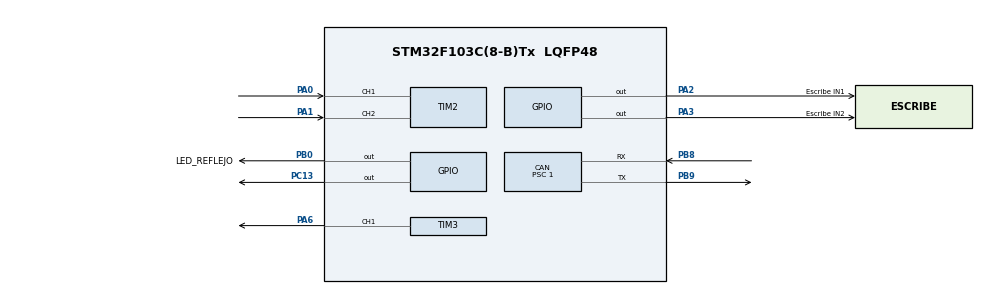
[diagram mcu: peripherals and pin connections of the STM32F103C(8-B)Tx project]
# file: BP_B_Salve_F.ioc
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CAN.BS1=CAN_BS1_13TQ
CAN.BS2=CAN_BS2_2TQ
CAN.CalculateBaudRate=500000
CAN.CalculateTimeBit=2000
CAN.CalculateTimeQuantum=125.0
CAN.Prescaler=1
Mcu.Family=STM32F1
Mcu.Name=STM32F103C(8-B)Tx
Mcu.Package=LQFP48
NVIC.PriorityGroup=NVIC_PRIORITYGROUP_4
PA0-WKUP.Signal=S_TIM2_CH1_ETR
PA1.Signal=S_TIM2_CH2
PA13.Mode=Serial_Wire
PA13.Signal=SYS_JTMS-SWDIO
PA14.Mode=Serial_Wire
PA14.Signal=SYS_JTCK-SWCLK
PA2.GPIO_Label=Escribe IN1
PA2.Signal=GPIO_Output
PA3.GPIO_Label=Escribe IN2
PA3.Signal=GPIO_Output
PA6.Signal=S_TIM3_CH1
PB0.GPIO_Label=LED_REFLEJO
PB0.Signal=GPIO_Output
PB8.Mode=CAN_Activate
PB8.Signal=CAN_RX
PB9.Mode=CAN_Activate
PB9.Signal=CAN_TX
PC13-TAMPER-RTC.PinState=GPIO_PIN_SET
PC13-TAMPER-RTC.Signal=GPIO_Output
PD0-OSC_IN.Mode=HSE-External-Oscillator
PD0-OSC_IN.Signal=RCC_OSC_IN
PD1-OSC_OUT.Mode=HSE-External-Oscillator
PD1-OSC_OUT.Signal=RCC_OSC_OUT
ProjectManager.HeapSize=0x200
ProjectManager.StackSize=0x400
ProjectManager.TargetToolchain=STM32CubeIDE
RCC.APB1Freq_Value=8000000
RCC.APB2Freq_Value=8000000
SH.S_TIM2_CH1_ETR.0=TIM2_CH1,Encoder_Interface
SH.S_TIM2_CH2.0=TIM2_CH2,Encoder_Interface
SH.S_TIM3_CH1.0=TIM3_CH1,PWM Generation1 CH1
TIM2.IC1Filter=6
TIM3.AutoReloadPreload=TIM_AUTORELOAD_PRELOAD_ENABLE
TIM3.Channel-PWM\ Generation1\ CH1=TIM_CHANNEL_1
TIM3.Period=999
TIM3.Prescaler=71
board=custom

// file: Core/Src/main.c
/* USER CODE BEGIN Header */
/**
  ******************************************************************************
  * @file           : main.c
  * @brief          : Main program body
  ******************************************************************************
  * @attention
  *
  * Copyright (c) 2026 STMicroelectronics.
  * All rights reserved.
  *
  * This software is licensed under terms that can be found in the LICENSE file
  * in the root directory of this software component.
  * If no LICENSE file comes with this software, it is provided AS-IS.
  *
  ******************************************************************************
  */
/* USER CODE END Header */
#include "main.h"
#include "can.h"
#include "tim.h"
#include "gpio.h"

/* USER CODE BEGIN Includes */
#include <stdlib.h>
/* USER CODE END Includes */

/* USER CODE BEGIN PTD */
typedef enum {
  STATE_IDLE = 0,
  STATE_SCANNING,
  STATE_HOMING_LOCKED,
  STATE_GO_TO_HOME,
  STATE_ERROR_LIMIT
} SystemState_t;

typedef enum {
  SCAN_PHASE_FORWARD = 0,   /* Girando hacia adelante (+2 vueltas) */
  SCAN_PHASE_PAUSE_FWD,     /* Pausa de 1s con motor frenado */
  SCAN_PHASE_REVERSE,       /* Girando hacia atrás (-2 vueltas) */
  SCAN_PHASE_PAUSE_REV      /* Pausa de 1s con motor frenado */
} ScanPhase_t;
/* USER CODE END PTD */

/* USER CODE BEGIN PD */
/* --- PARÁMETROS DEL ENCODER, TORNILLO SIN FIN Y ENGRANAJE --- */
#define ENCODER_PPR            30     /* Pulsos por revolución del eje del motor */
/* En modo TI1 (x2) se generan 2 cuentas en el timer por cada pulso */
#define TICKS_PER_MOTOR_REV    (ENCODER_PPR * 2) /* 60 cuentas por 1 vuelta del motor */

/* Transmisión: Tornillo sin fin (1 entrada) -> Engranaje de 40 dientes (Radio = 15 mm)
 * 1 vuelta del tornillo sin fin avanza 1 diente del engranaje (relación 40:1).
 * Por lo tanto, 1 vuelta del engranaje = 40 vueltas del motor = 2400 ticks. */
#define WORM_STARTS            1      /* Entradas del tornillo sin fin */
#define GEAR_TEETH             40     /* Dientes del engranaje conducido */
#define GEAR_RADIUS_MM         15     /* Radio del engranaje (centro a cabeza de diente): 15 mm */
#define TICKS_PER_GEAR_REV     ((TICKS_PER_MOTOR_REV * GEAR_TEETH) / WORM_STARTS) /* 2400 cuentas por vuelta de engranaje */

#define SWEEP_GEAR_REVS        2      /* 2 vueltas completas del ENGRANAJE hacia cada sentido */
#define SWEEP_TARGET_TICKS     (TICKS_PER_GEAR_REV * SWEEP_GEAR_REVS) /* 4800 ticks (80 vueltas de motor) */
#define SWEEP_PAUSE_MS         1000   /* 1 segundo de retardo antes de cambiar de sentido */
#define SWEEP_DUTY             700    /* Fuerza de barrido en 700 (70% sobre 999) */

/* --- IMPULSO DE ARRANQUE (KICK-START PARA VENCER FRICCIÓN ESTÁTICA) --- */
#define KICK_DUTY              950    /* Golpe inicial de fuerza (95% sobre 999) al salir del reposo */
#define KICK_TIME_MS           35     /* Duración del empujón inicial en milisegundos */

/* Límite de seguridad amplio para permitir las 80 vueltas de motor (4800 ticks) con holgura */
#define MAX_ENCODER_LIMIT      25000

/* --- PARÁMETROS DEL CONTROLADOR DE POSICIÓN (IR A HOME) --- */
#define POS_DEADBAND_TICKS     5      /* Tolerancia de llegada en pulsos */
#define POS_MIN_DUTY           550    /* Fuerza mínima para vencer fricción en retorno */
#define POS_MAX_DUTY           700    /* Velocidad máxima de retorno */
#define GO_HOME_TIMEOUT_MS     30000  /* 30 s de tiempo máximo para desandar hasta 2 vueltas de engranaje */

#define ENCODER_POLARITY       1      /* Polaridad de encoder */
/* USER CODE END PD */

/* USER CODE BEGIN PV */
/* Estado del sistema y variables de posición */
volatile SystemState_t current_state = STATE_IDLE;
volatile int32_t total_encoder_ticks = 0;   /* Posición acumulada en 32 bits (anti-desbordamiento) */
volatile int16_t last_timer_cnt = 0;        /* Última lectura directa de CNT (16 bits) */
volatile int32_t home_position = 0;         /* Posición de referencia fijada */
volatile int32_t target_position = 0;       /* Posición objetivo para Ir a Home o giros por ángulo */

/* Variables para el barrido oscilante por PPR */
volatile ScanPhase_t scan_phase = SCAN_PHASE_FORWARD;
int32_t leg_start_ticks = 0;                /* Posición de inicio de cada tramo de giro */
uint32_t scan_pause_timer = 0;              /* Temporizador no bloqueante para el delay de 1s */

/* Variables para control inteligente y anti-embalamiento de Go to Home */
volatile int8_t motor_dir_sign = 1;         /* Signo de dirección de motor (+1 o -1 auto-calibrado) */
int32_t go_home_initial_error = 0;
uint32_t go_home_start_time = 0;

/* Seguimiento del sentido actual del motor para el impulso de arranque (kick-start) */
int8_t current_motor_dir = 0;               /* 0: frenado, 1: adelante, -1: atrás */

/* Banderas de eventos de botones recibidos por bus CAN desde BP_A_Master_F */
volatile uint8_t can_btn1_flag = 0;
volatile uint8_t can_btn2_flag = 0;
volatile uint8_t can_btn3_flag = 0;
volatile uint8_t can_btn4_flag = 0;
volatile int32_t can_step_ticks = 0;        /* Pasos relativos solicitados por CAN (+ o - ticks) */

/* Temporizador no bloqueante para envio de telemetria CAN (Fase B) */
uint32_t last_telemetry_tick = 0;
/* USER CODE END PV */

void SystemClock_Config(void);
/* USER CODE BEGIN PFP */
void Motor_SetSpeed(int16_t speed);
void Encoder_Update(void);
void CAN_Filter_Config(void);
void CAN_ProcessRxMessages(void);
void CAN_SendTelemetry(void);
/* USER CODE END PFP */

/* USER CODE BEGIN 0 */
/**
  * @brief  Ajusta el sentido de giro y la velocidad del motor DC con el puente H L298N.
  *         Incluye un "empujón" (kick-start) automático al arrancar desde reposo o cambiar
  *         de sentido para vencer la fricción estática del motor.
  * @param  speed: Valor entre -999 y +999
  */
void Motor_SetSpeed(int16_t speed)
{
  if (speed > 999) speed = 999;
  if (speed < -999) speed = -999;

  if (speed > 0)
  {
    HAL_GPIO_WritePin(GPIOA, Escribe_IN1_Pin, GPIO_PIN_SET);
    HAL_GPIO_WritePin(GPIOA, Escribe_IN2_Pin, GPIO_PIN_RESET);

    /* Si estaba detenido o girando al revés, dar golpe de arranque para vencer inercia */
    if (current_motor_dir != 1)
    {
      current_motor_dir = 1;
      if (speed < KICK_DUTY && KICK_TIME_MS > 0)
      {
        __HAL_TIM_SET_COMPARE(&htim3, TIM_CHANNEL_1, KICK_DUTY);
        HAL_Delay(KICK_TIME_MS);
      }
    }
    __HAL_TIM_SET_COMPARE(&htim3, TIM_CHANNEL_1, (uint32_t)speed);
  }
  else if (speed < 0)
  {
    HAL_GPIO_WritePin(GPIOA, Escribe_IN1_Pin, GPIO_PIN_RESET);
    HAL_GPIO_WritePin(GPIOA, Escribe_IN2_Pin, GPIO_PIN_SET);

    /* Si estaba detenido o girando al revés, dar golpe de arranque para vencer inercia */
    if (current_motor_dir != -1)
    {
      current_motor_dir = -1;
      if ((-speed) < KICK_DUTY && KICK_TIME_MS > 0)
      {
        __HAL_TIM_SET_COMPARE(&htim3, TIM_CHANNEL_1, KICK_DUTY);
        HAL_Delay(KICK_TIME_MS);
      }
    }
    __HAL_TIM_SET_COMPARE(&htim3, TIM_CHANNEL_1, (uint32_t)(-speed));
  }
  else
  {
    /* Freno activo */
    current_motor_dir = 0;
    HAL_GPIO_WritePin(GPIOA, Escribe_IN1_Pin, GPIO_PIN_RESET);
    HAL_GPIO_WritePin(GPIOA, Escribe_IN2_Pin, GPIO_PIN_RESET);
    __HAL_TIM_SET_COMPARE(&htim3, TIM_CHANNEL_1, 0);
  }
}

/**
  * @brief  Calcula los pulsos acumulados en 32 bits a partir de los 16 bits de TIM2
  */
void Encoder_Update(void)
{
  int16_t current_cnt = (int16_t)__HAL_TIM_GET_COUNTER(&htim2);
  int16_t delta = current_cnt - last_timer_cnt;
  last_timer_cnt = current_cnt;
  total_encoder_ticks += (ENCODER_POLARITY * delta);
}

/**
  * @brief  Configuración del filtro CAN para recibir todos los mensajes en FIFO0
  */
void CAN_Filter_Config(void)
{
  CAN_FilterTypeDef sFilterConfig;

  sFilterConfig.FilterBank = 0;
  sFilterConfig.FilterMode = CAN_FILTERMODE_IDMASK;
  sFilterConfig.FilterScale = CAN_FILTERSCALE_32BIT;
  sFilterConfig.FilterIdHigh = 0x0000;
  sFilterConfig.FilterIdLow = 0x0000;
  sFilterConfig.FilterMaskIdHigh = 0x0000;
  sFilterConfig.FilterMaskIdLow = 0x0000;
  sFilterConfig.FilterFIFOAssignment = CAN_RX_FIFO0;
  sFilterConfig.FilterActivation = ENABLE;
  sFilterConfig.SlaveStartFilterBank = 14;

  if (HAL_CAN_ConfigFilter(&hcan, &sFilterConfig) != HAL_OK)
  {
    Error_Handler();
  }
}

/**
  * @brief  Procesa todos los mensajes pendientes en el FIFO0 de recepción CAN
  *         - StdId 0x010: Comandos de botones BTN1..BTN4 (0x01..0x04)
  *         - StdId 0x020: Comando de encendido/apagado de LED_REFLEJO en PB0 (0x01 / 0x00)
  */
void CAN_ProcessRxMessages(void)
{
  CAN_RxHeaderTypeDef rxHeader;
  uint8_t rxData[8];

  while (HAL_CAN_GetRxFifoFillLevel(&hcan, CAN_RX_FIFO0) > 0)
  {
    if (HAL_CAN_GetRxMessage(&hcan, CAN_RX_FIFO0, &rxHeader, rxData) == HAL_OK)
    {
      if (rxHeader.DLC >= 1)
      {
        /* 1. Comandos de los botones de motor/homing y giros por ángulo (ID = 0x010) */
        if (rxHeader.StdId == 0x010)
        {
          switch (rxData[0])
          {
            case 0x01: can_btn1_flag = 1; break;
            case 0x02: can_btn2_flag = 1; break;
            case 0x03: can_btn3_flag = 1; break;
            case 0x04: can_btn4_flag = 1; break;
            /* Giros relativos en sentido positivo (+30°, +90°, +180°, +360°) */
            case 0x05: can_step_ticks =  (30  * TICKS_PER_GEAR_REV) / 360; break; /* +200 ticks */
            case 0x06: can_step_ticks =  (90  * TICKS_PER_GEAR_REV) / 360; break; /* +600 ticks */
            case 0x07: can_step_ticks =  (180 * TICKS_PER_GEAR_REV) / 360; break; /* +1200 ticks */
            case 0x08: can_step_ticks =  (360 * TICKS_PER_GEAR_REV) / 360; break; /* +2400 ticks */
            /* Giros relativos en sentido negativo (-30°, -90°, -180°, -360°) */
            case 0x09: can_step_ticks = -(30  * TICKS_PER_GEAR_REV) / 360; break; /* -200 ticks */
            case 0x0A: can_step_ticks = -(90  * TICKS_PER_GEAR_REV) / 360; break; /* -600 ticks */
            case 0x0B: can_step_ticks = -(180 * TICKS_PER_GEAR_REV) / 360; break; /* -1200 ticks */
            case 0x0C: can_step_ticks = -(360 * TICKS_PER_GEAR_REV) / 360; break; /* -2400 ticks */
            default: break;
          }
        }
        /* 2. Comandos del LED en PB0 (ID = 0x020) */
        else if (rxHeader.StdId == 0x020)
        {
          if (rxData[0] == 0x01)
          {
            HAL_GPIO_WritePin(LED_REFLEJO_GPIO_Port, LED_REFLEJO_Pin, GPIO_PIN_SET);   /* Encender LED PB0 */
          }
          else if (rxData[0] == 0x00)
          {
            HAL_GPIO_WritePin(LED_REFLEJO_GPIO_Port, LED_REFLEJO_Pin, GPIO_PIN_RESET); /* Apagar LED PB0 */
          }
        }
      }
    }
    else
    {
      break;
    }
  }
}

/**
  * @brief  Callback de interrupción al recibir un frame CAN en el FIFO0
  */
void HAL_CAN_RxFifo0MsgPendingCallback(CAN_HandleTypeDef *hcanInstance)
{
  UNUSED(hcanInstance);
  CAN_ProcessRxMessages();
}

/**
  * @brief  Transmite periodicamente la telemetria (posicion y estado) por CAN a BP_A (StdId = 0x030)
  */
void CAN_SendTelemetry(void)
{
  CAN_TxHeaderTypeDef txHeader;
  uint8_t txData[5];
  uint32_t txMailbox;

  if (HAL_CAN_GetTxMailboxesFreeLevel(&hcan) == 0)
  {
    HAL_CAN_AbortTxRequest(&hcan, CAN_TX_MAILBOX0 | CAN_TX_MAILBOX1 | CAN_TX_MAILBOX2);
  }

  txHeader.StdId = 0x030;
  txHeader.ExtId = 0x01;
  txHeader.RTR = CAN_RTR_DATA;
  txHeader.IDE = CAN_ID_STD;
  txHeader.DLC = 5;
  txHeader.TransmitGlobalTime = DISABLE;

  int32_t pos = total_encoder_ticks;
  txData[0] = (uint8_t)(pos & 0xFF);
  txData[1] = (uint8_t)((pos >> 8) & 0xFF);
  txData[2] = (uint8_t)((pos >> 16) & 0xFF);
  txData[3] = (uint8_t)((pos >> 24) & 0xFF);
  txData[4] = (uint8_t)current_state;

  HAL_CAN_AddTxMessage(&hcan, &txHeader, txData, &txMailbox);
}
/* USER CODE END 0 */

int main(void)
{

  /* MCU Configuration--------------------------------------------------------*/

  /* Reset of all peripherals, Initializes the Flash interface and the Systick. */
  HAL_Init();

  /* Configure the system clock */
  SystemClock_Config();

  /* Initialize all configured peripherals */
  MX_GPIO_Init();
  MX_TIM2_Init();
  MX_TIM3_Init();
  MX_CAN_Init();
  /* USER CODE BEGIN 2 */
  /* Iniciar PWM de velocidad de motor (TIM3 Canal 1 en PA6 -> ENA del L298N) */
  HAL_TIM_PWM_Start(&htim3, TIM_CHANNEL_1);

  /* Iniciar lectura de Encoder en TIM2 (PA0 y PA1) */
  HAL_TIM_Encoder_Start(&htim2, TIM_CHANNEL_ALL);

  /* Iniciar periférico CAN y activar interrupciones de recepción */
  CAN_Filter_Config();
  if (HAL_CAN_Start(&hcan) != HAL_OK)
  {
    Error_Handler();
  }
  if (HAL_CAN_ActivateNotification(&hcan, CAN_IT_RX_FIFO0_MSG_PENDING) != HAL_OK)
  {
    Error_Handler();
  }

  /* Asegurar actuadores apagados al arrancar */
  Motor_SetSpeed(0);
  HAL_GPIO_WritePin(LED_REFLEJO_GPIO_Port, LED_REFLEJO_Pin, GPIO_PIN_RESET);

  /* Resetear contadores de posición y variables de referencia */
  __HAL_TIM_SET_COUNTER(&htim2, 0);
  last_timer_cnt = 0;
  total_encoder_ticks = 0;
  home_position = 0;
  target_position = 0;
  current_state = STATE_IDLE;
  /* USER CODE END 2 */

  /* Infinite loop */
  /* USER CODE BEGIN WHILE */
  while (1)
  {
    /* 0. Procesar mensajes CAN pendientes en FIFO0 (respaldo por polling + interrupción) */
    CAN_ProcessRxMessages();

    /* 1. Actualizar el conteo continuo del encoder (32 bits anti-desbordamiento) */
    Encoder_Update();

    /* 2. Capturar los eventos de BTN1..BTN4 recibidos por CAN desde BP_A_Master_F */
    uint8_t btn1 = can_btn1_flag; can_btn1_flag = 0;
    uint8_t btn2 = can_btn2_flag; can_btn2_flag = 0;
    uint8_t btn3 = can_btn3_flag; can_btn3_flag = 0;
    uint8_t btn4 = can_btn4_flag; can_btn4_flag = 0;
    int32_t step_req = can_step_ticks; can_step_ticks = 0;

    /* 3. PARADA DE EMERGENCIA / STOP (BTN4 tiene prioridad sobre cualquier estado) */
    if (btn4)
    {
      Motor_SetSpeed(0);
      current_state = STATE_IDLE;
    }

    /* 4. VERIFICACIÓN DE LÍMITE DE SEGURIDAD */
    if (current_state == STATE_SCANNING || current_state == STATE_GO_TO_HOME)
    {
      if (abs(total_encoder_ticks - home_position) >= MAX_ENCODER_LIMIT)
      {
        Motor_SetSpeed(0);
        current_state = STATE_ERROR_LIMIT;
      }
    }

    /* 5. MÁQUINA DE ESTADOS */
    switch (current_state)
    {
      case STATE_IDLE:
        Motor_SetSpeed(0);
        HAL_GPIO_WritePin(GPIOC, GPIO_PIN_13, GPIO_PIN_SET); /* LED PC13 apagado en reposo */

        /* BTN1: Iniciar barrido oscilante basado en vueltas (PPR) */
        if (btn1)
        {
          leg_start_ticks = total_encoder_ticks; /* Origen de este tramo */
          scan_phase = SCAN_PHASE_FORWARD;
          Motor_SetSpeed(SWEEP_DUTY);
          current_state = STATE_SCANNING;
        }
        /* BTN2: Fijar Home en reposo si se desea calibrar aquí */
        else if (btn2)
        {
          total_encoder_ticks = 0;
          home_position = 0;
          target_position = 0;
          __HAL_TIM_SET_COUNTER(&htim2, 0);
          last_timer_cnt = 0;
          current_state = STATE_HOMING_LOCKED;
        }
        /* BTN3: Regresar a la posición de Home memorizada */
        else if (btn3)
        {
          target_position = home_position;
          go_home_initial_error = abs(target_position - total_encoder_ticks);
          go_home_start_time = HAL_GetTick();
          current_state = STATE_GO_TO_HOME;
        }
        /* Giro angular relativo por comando remoto (±30°, ±90°, ±180°, ±360°) */
        else if (step_req != 0)
        {
          target_position = total_encoder_ticks + step_req;
          go_home_initial_error = abs(target_position - total_encoder_ticks);
          go_home_start_time = HAL_GetTick();
          current_state = STATE_GO_TO_HOME;
        }
        break;

      case STATE_SCANNING:
        HAL_GPIO_WritePin(GPIOC, GPIO_PIN_13, GPIO_PIN_RESET); /* LED PC13 encendido mientras escanea */

        /* Sub-máquina de estados de barrido por vueltas (PPR) */
        switch (scan_phase)
        {
          case SCAN_PHASE_FORWARD:
            Motor_SetSpeed(SWEEP_DUTY);
            /* Verificar si completó 2 vueltas relativas hacia adelante */
            if (abs(total_encoder_ticks - leg_start_ticks) >= SWEEP_TARGET_TICKS)
            {
              Motor_SetSpeed(0); /* Freno activo */
              scan_pause_timer = HAL_GetTick();
              scan_phase = SCAN_PHASE_PAUSE_FWD;
            }
            break;

          case SCAN_PHASE_PAUSE_FWD:
            Motor_SetSpeed(0); /* Freno durante el delay de 1 segundo */
            if (HAL_GetTick() - scan_pause_timer >= SWEEP_PAUSE_MS)
            {
              leg_start_ticks = total_encoder_ticks; /* Origen para el tramo en reversa */
              Motor_SetSpeed(-SWEEP_DUTY); /* Iniciar giro en reversa con fuerza */
              scan_phase = SCAN_PHASE_REVERSE;
            }
            break;

          case SCAN_PHASE_REVERSE:
            Motor_SetSpeed(-SWEEP_DUTY);
            /* Verificar si completó 2 vueltas relativas hacia atrás */
            if (abs(total_encoder_ticks - leg_start_ticks) >= SWEEP_TARGET_TICKS)
            {
              Motor_SetSpeed(0); /* Freno activo */
              scan_pause_timer = HAL_GetTick();
              scan_phase = SCAN_PHASE_PAUSE_REV;
            }
            break;

          case SCAN_PHASE_PAUSE_REV:
            Motor_SetSpeed(0); /* Freno durante el delay de 1 segundo */
            if (HAL_GetTick() - scan_pause_timer >= SWEEP_PAUSE_MS)
            {
              leg_start_ticks = total_encoder_ticks; /* Origen para el siguiente tramo adelante */
              Motor_SetSpeed(SWEEP_DUTY); /* Reiniciar giro hacia adelante */
              scan_phase = SCAN_PHASE_FORWARD;
            }
            break;
        }

        /* BTN2: Fijar Home */
        if (btn2)
        {
          Motor_SetSpeed(0);

          /* Fijar el origen de coordenadas exactamente en este punto */
          total_encoder_ticks = 0;
          home_position = 0;
          target_position = 0;
          __HAL_TIM_SET_COUNTER(&htim2, 0);
          last_timer_cnt = 0;

          current_state = STATE_HOMING_LOCKED;
        }
        break;

      case STATE_HOMING_LOCKED:
        /* Señalización visual: destello breve del LED integrado */
        Motor_SetSpeed(0);
        HAL_GPIO_WritePin(GPIOC, GPIO_PIN_13, GPIO_PIN_RESET);
        HAL_Delay(150);
        HAL_GPIO_WritePin(GPIOC, GPIO_PIN_13, GPIO_PIN_SET);
        current_state = STATE_IDLE; /* Regresa a reposo con el cero memorizado */
        break;

      case STATE_GO_TO_HOME:
        HAL_GPIO_WritePin(GPIOC, GPIO_PIN_13, GPIO_PIN_RESET);

        {
          /* Si llega un nuevo paso angular relativo mientras posiciona, acumular objetivo */
          if (step_req != 0)
          {
            target_position += step_req;
            go_home_initial_error = abs(target_position - total_encoder_ticks);
            go_home_start_time = HAL_GetTick();
          }

          /* Error de posición respecto al objetivo (Home = 0 o ángulo relativo) */
          int32_t error = target_position - total_encoder_ticks;
          int32_t abs_err = abs(error);

          /* 1. Verificación de llegada dentro de la zona muerta */
          if (abs_err <= POS_DEADBAND_TICKS)
          {
            Motor_SetSpeed(0);
            current_state = STATE_IDLE; /* Posición alcanzada con precisión */
          }
          else
          {
            /* 2. Detección y auto-corrección de sentido invertido (anti-embalamiento) */
            if (abs_err > (go_home_initial_error + 30))
            {
              motor_dir_sign = -motor_dir_sign;
              go_home_initial_error = abs_err;
            }

            /* 3. Timeout de seguridad: tiempo suficiente para desandar las 2 vueltas del engranaje */
            if (HAL_GetTick() - go_home_start_time > GO_HOME_TIMEOUT_MS)
            {
              Motor_SetSpeed(0);
              current_state = STATE_IDLE;
            }

            /* 4. Velocidad proporcional: POS_MIN_DUTY cerca, POS_MAX_DUTY si está más lejos */
            int16_t speed = POS_MIN_DUTY;
            if (abs_err > 40)
            {
              speed = POS_MAX_DUTY;
            }

            /* 5. Comandar motor con corrección de signo */
            if (error > 0)
            {
              Motor_SetSpeed(motor_dir_sign * speed);
            }
            else
            {
              Motor_SetSpeed(-motor_dir_sign * speed);
            }
          }
        }
        break;

      case STATE_ERROR_LIMIT:
        Motor_SetSpeed(0);
        /* Parpadeo continuo de advertencia */
        HAL_GPIO_TogglePin(GPIOC, GPIO_PIN_13);
        HAL_Delay(100);

        /* Salir del estado de error al presionar STOP (BTN4) o BTN1 */
        if (btn4 || btn1)
        {
          total_encoder_ticks = 0;
          home_position = 0;
          current_state = STATE_IDLE;
        }
        break;

      default:
        current_state = STATE_IDLE;
        break;
    }

    /* 4. Transmitir telemetria de posicion y estado hacia BP_A (cada 50 ms / 20 Hz) */
    if ((HAL_GetTick() - last_telemetry_tick) >= 50)
    {
      last_telemetry_tick = HAL_GetTick();
      CAN_SendTelemetry();
    }

    HAL_Delay(5);
    /* USER CODE END WHILE */

  }
}

void SystemClock_Config(void)
{
  RCC_OscInitTypeDef RCC_OscInitStruct = {0};
  RCC_ClkInitTypeDef RCC_ClkInitStruct = {0};

  /** Initializes the RCC Oscillators according to the specified parameters
  * in the RCC_OscInitTypeDef structure.
  */
  RCC_OscInitStruct.OscillatorType = RCC_OSCILLATORTYPE_HSI;
  RCC_OscInitStruct.HSIState = RCC_HSI_ON;
  RCC_OscInitStruct.HSICalibrationValue = RCC_HSICALIBRATION_DEFAULT;
  RCC_OscInitStruct.PLL.PLLState = RCC_PLL_NONE;
  if (HAL_RCC_OscConfig(&RCC_OscInitStruct) != HAL_OK)
  {
    Error_Handler();
  }

  /** Initializes the CPU, AHB and APB buses clocks
  */
  RCC_ClkInitStruct.ClockType = RCC_CLOCKTYPE_HCLK|RCC_CLOCKTYPE_SYSCLK
                              |RCC_CLOCKTYPE_PCLK1|RCC_CLOCKTYPE_PCLK2;
  RCC_ClkInitStruct.SYSCLKSource = RCC_SYSCLKSOURCE_HSI;
  RCC_ClkInitStruct.AHBCLKDivider = RCC_SYSCLK_DIV1;
  RCC_ClkInitStruct.APB1CLKDivider = RCC_HCLK_DIV1;
  RCC_ClkInitStruct.APB2CLKDivider = RCC_HCLK_DIV1;

  if (HAL_RCC_ClockConfig(&RCC_ClkInitStruct, FLASH_LATENCY_0) != HAL_OK)
  {
    Error_Handler();
  }
}

void Error_Handler(void)
{
  __disable_irq();
  while (1)
  {
  }
}
